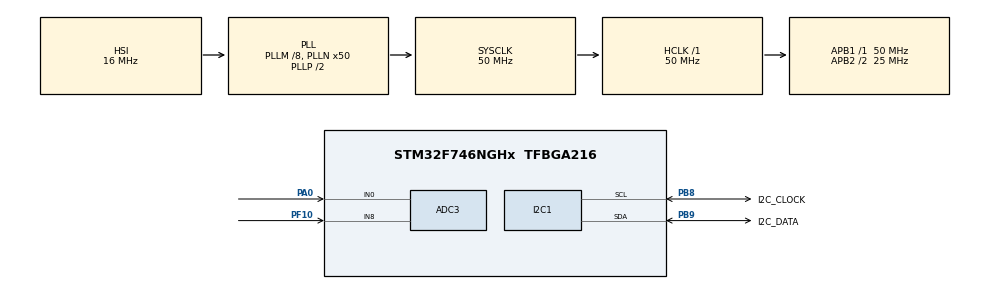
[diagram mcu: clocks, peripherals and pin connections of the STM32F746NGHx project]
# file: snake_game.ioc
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ADC3.Channel-0\#ChannelRegularConversion=ADC_CHANNEL_0
ADC3.Channel-1\#ChannelRegularConversion=ADC_CHANNEL_8
ADC3.DiscontinuousConvMode=ENABLE
ADC3.NbrOfConversion=2
ADC3.NbrOfConversionFlag=1
ADC3.Rank-0\#ChannelRegularConversion=1
ADC3.Rank-1\#ChannelRegularConversion=2
ADC3.SamplingTime-0\#ChannelRegularConversion=ADC_SAMPLETIME_84CYCLES
ADC3.SamplingTime-1\#ChannelRegularConversion=ADC_SAMPLETIME_84CYCLES
FREERTOS.Mutexes01=linkedListHandleMutex,Dynamic,NULL
FREERTOS.Tasks01=defaultTask,0,128,StartDefaultTask,Default,NULL,Dynamic,NULL,NULL;JoystickInputHa,0,128,StartJoystickInputHandlerTask,Default,NULL,Dynamic,NULL,NULL;snakeMoveTask,0,128,StartSnakeMoveTask,Default,NULL,Dynamic,NULL,NULL;displayTask,0,128,StartDisplayTask,Default,NULL,Dynamic,NULL,NULL;foodScoreTask,0,128,StartFoodScoreTask,Default,NULL,Dynamic,NULL,NULL
I2C1.Timing=0x00C0EAFF
Mcu.Family=STM32F7
Mcu.Name=STM32F746NGHx
Mcu.Package=TFBGA216
NVIC.PriorityGroup=NVIC_PRIORITYGROUP_4
NVIC.TIM8_TRG_COM_TIM14_IRQn=true\:0\:0\:false\:false\:true\:false\:false\:true
NVIC.TimeBase=TIM8_TRG_COM_TIM14_IRQn
NVIC.TimeBaseIP=TIM14
PA0/WKUP.Signal=ADCx_IN0
PA13.Mode=Serial_Wire
PA13.Signal=SYS_JTMS-SWDIO
PA14.Mode=Serial_Wire
PA14.Signal=SYS_JTCK-SWCLK
PB8.GPIO_Label=I2C_CLOCK
PB8.Mode=I2C
PB8.Signal=I2C1_SCL
PB9.GPIO_Label=I2C_DATA
PB9.Mode=I2C
PB9.Signal=I2C1_SDA
PC14/OSC32_IN.Mode=LSE-External-Clock-Source
PC14/OSC32_IN.Signal=RCC_OSC32_IN
PC15/OSC32_OUT.Mode=LSE-External-Clock-Source
PC15/OSC32_OUT.Signal=RCC_OSC32_OUT
PF10.Mode=IN8
PF10.Signal=ADC3_IN8
PH0/OSC_IN.Mode=HSE-External-Oscillator
PH0/OSC_IN.Signal=RCC_OSC_IN
PH1/OSC_OUT.Mode=HSE-External-Oscillator
PH1/OSC_OUT.Signal=RCC_OSC_OUT
ProjectManager.HeapSize=0x200
ProjectManager.StackSize=0x400
ProjectManager.TargetToolchain=STM32CubeIDE
RCC.AHBFreq_Value=50000000
RCC.APB1Freq_Value=50000000
RCC.APB1TimFreq_Value=50000000
RCC.APB2CLKDivider=RCC_HCLK_DIV2
RCC.APB2Freq_Value=25000000
RCC.APB2TimFreq_Value=50000000
RCC.CortexFreq_Value=50000000
RCC.HCLKFreq_Value=50000000
RCC.HSE_VALUE=25000000
RCC.HSI_VALUE=16000000
RCC.LSE_VALUE=32768
RCC.PLLM=8
RCC.PLLN=50
RCC.PLLQ=3
RCC.PLLSourceVirtual=RCC_PLLSOURCE_HSI
RCC.SYSCLKFreq_VALUE=50000000
RCC.SYSCLKSource=RCC_SYSCLKSOURCE_PLLCLK
RCC.USBFreq_Value=33333333.333333332
RCC.VCOOutputFreq_Value=100000000
SH.ADCx_IN0.0=ADC3_IN0,IN0
VP_FREERTOS_VS_CMSIS_V1.Mode=CMSIS_V1
VP_RNG_VS_RNG.Mode=RNG_Activate
VP_SYS_VS_tim14.Mode=TIM14
board=STM32F746G-DISCO

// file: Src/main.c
/* USER CODE BEGIN Header */
/**
 ******************************************************************************
 * @file           : main.c
 * @brief          : Main program body
 ******************************************************************************
 * @attention
 *
 * <h2><center>&copy; Copyright (c) 2019 STMicroelectronics.
 * All rights reserved.</center></h2>
 *
 * This software component is licensed by ST under BSD 3-Clause license,
 * the "License"; You may not use this file except in compliance with the
 * License. You may obtain a copy of the License at:
 *                        opensource.org/licenses/BSD-3-Clause
 *
 ******************************************************************************
 */
/* USER CODE END Header */

#include "main.h"
#include "cmsis_os.h"

/* USER CODE BEGIN Includes */

#include "linked_list.h"

/* USER CODE END Includes */

/* USER CODE BEGIN PTD */

typedef enum move_direction {
  UP, DOWN, LEFT, RIGHT, STOP, OVER,
} move_direction_t;

typedef struct food_coord {
  uint8_t x_food;
  uint8_t y_food;
} food_coord_t;

/* USER CODE END PTD */

/* USER CODE BEGIN PD */

#define I2C_ADDRESS_LEDMATRIX (0b11100000)

/* USER CODE END PD */

ADC_HandleTypeDef hadc3;

I2C_HandleTypeDef hi2c1;

RNG_HandleTypeDef hrng;

osThreadId defaultTaskHandle;
osThreadId JoystickInputHaHandle;
osThreadId snakeMoveTaskHandle;
osThreadId displayTaskHandle;
osThreadId foodScoreTaskHandle;
osMutexId linkedListHandleMutexHandle;
/* USER CODE BEGIN PV */

uint8_t screen_content[] = { 0x00, 0x00, 0x00, 0x00, 0x00, 0x00, 0x00, 0x00 };

uint8_t x_snake = 0;
uint8_t y_snake = 5;
//uint8_t x_food;
//uint8_t y_food;

int score = -5;
uint32_t game_speed = 500;
uint8_t food_eaten = 1;
uint32_t food_counter = 0;

const uint8_t visconti_snake[] = { 0x00, 0xa0, 0x48, 0xd4, 0xd5, 0xd2, 0x20,
    0x00 };

const uint8_t visconti_snake2[] = { 0xa0, 0x40, 0x48, 0xd4, 0xd5, 0xd2, 0x20,
    0x00 };

coord_t def_coord1 = { 0, 5 };
coord_t def_coord2 = { 0, 6 };
coord_t def_coord3 = { 0, 7 };
coord_t prev_tail;
food_coord_t coord_food;

HAL_StatusTypeDef Status;

move_direction_t direction = STOP;

node_t *head;
node_t **headptr = &head;

/* USER CODE END PV */

void SystemClock_Config(void);
static void MX_GPIO_Init(void);
static void MX_ADC3_Init(void);
static void MX_I2C1_Init(void);
static void MX_RNG_Init(void);
void StartDefaultTask(void const * argument);
void StartJoystickInputHandlerTask(void const * argument);
void StartSnakeMoveTask(void const * argument);
void StartDisplayTask(void const * argument);
void StartFoodScoreTask(void const * argument);

/* USER CODE BEGIN PFP */

void clear_led_matrix();
void set_led_matrix(const uint8_t* data);

/* USER CODE END PFP */

/* USER CODE BEGIN 0 */

void clear_led_matrix() {
  uint8_t buff[2];

  for (int i = 0; i < 16; i++) {
    buff[0] = i;
    buff[1] = 0x00;
    HAL_I2C_Master_Transmit(&hi2c1, I2C_ADDRESS_LEDMATRIX, buff, 2, 100);
  }
}

void set_led_matrix(const uint8_t* data) {
  clear_led_matrix();
  uint8_t buff[2];

  for (int i = 0; i < 8; i++) {
    buff[0] = i * 2;
    buff[1] = (data[i] >> 1) | (data[i] << 7);
    HAL_I2C_Master_Transmit(&hi2c1, I2C_ADDRESS_LEDMATRIX, buff, 2, 100);
  }
}

/* USER CODE END 0 */

int main(void) {

  /* MCU Configuration--------------------------------------------------------*/

  /* Reset of all peripherals, Initializes the Flash interface and the Systick. */
  HAL_Init();

  /* Configure the system clock */
  SystemClock_Config();

  /* Initialize all configured peripherals */
  MX_GPIO_Init();
  MX_ADC3_Init();
  MX_I2C1_Init();
  MX_RNG_Init();
  /* USER CODE BEGIN 2 */

  //init LED matrix
  uint8_t init1 = 0b00100001;
  uint8_t init2 = 0b10000001;

  HAL_I2C_Master_Transmit(&hi2c1, I2C_ADDRESS_LEDMATRIX, &init1, 1, 100);
  HAL_I2C_Master_Transmit(&hi2c1, I2C_ADDRESS_LEDMATRIX, &init2, 1, 100);

  init_list(headptr);

  /* USER CODE END 2 */

  /* Create the mutex(es) */
  /* definition and creation of linkedListHandleMutex */
  osMutexDef(linkedListHandleMutex);
  linkedListHandleMutexHandle = osMutexCreate(osMutex(linkedListHandleMutex));

  /* Create the thread(s) */
  /* definition and creation of defaultTask */
  osThreadDef(defaultTask, StartDefaultTask, osPriorityNormal, 0, 128);
  defaultTaskHandle = osThreadCreate(osThread(defaultTask), NULL);

  /* definition and creation of JoystickInputHa */
  osThreadDef(JoystickInputHa, StartJoystickInputHandlerTask, osPriorityNormal,
      0, 128);
  JoystickInputHaHandle = osThreadCreate(osThread(JoystickInputHa), NULL);

  /* definition and creation of snakeMoveTask */
  osThreadDef(snakeMoveTask, StartSnakeMoveTask, osPriorityNormal, 0, 128);
  snakeMoveTaskHandle = osThreadCreate(osThread(snakeMoveTask), NULL);

  /* definition and creation of displayTask */
  osThreadDef(displayTask, StartDisplayTask, osPriorityNormal, 0, 128);
  displayTaskHandle = osThreadCreate(osThread(displayTask), NULL);

  /* definition and creation of foodScoreTask */
  osThreadDef(foodScoreTask, StartFoodScoreTask, osPriorityNormal, 0, 128);
  foodScoreTaskHandle = osThreadCreate(osThread(foodScoreTask), NULL);

  /* Start scheduler */
  osKernelStart();

  /* We should never get here as control is now taken by the scheduler */

  /* Infinite loop */
  while (1) {

  }
}

void SystemClock_Config(void) {
  RCC_OscInitTypeDef RCC_OscInitStruct = { 0 };
  RCC_ClkInitTypeDef RCC_ClkInitStruct = { 0 };
  RCC_PeriphCLKInitTypeDef PeriphClkInitStruct = { 0 };

  /** Configure the main internal regulator output voltage
   */
  __HAL_RCC_PWR_CLK_ENABLE()
  ;
  __HAL_PWR_VOLTAGESCALING_CONFIG(PWR_REGULATOR_VOLTAGE_SCALE3);
  /** Initializes the CPU, AHB and APB busses clocks
   */
  RCC_OscInitStruct.OscillatorType = RCC_OSCILLATORTYPE_HSI;
  RCC_OscInitStruct.HSIState = RCC_HSI_ON;
  RCC_OscInitStruct.HSICalibrationValue = RCC_HSICALIBRATION_DEFAULT;
  RCC_OscInitStruct.PLL.PLLState = RCC_PLL_ON;
  RCC_OscInitStruct.PLL.PLLSource = RCC_PLLSOURCE_HSI;
  RCC_OscInitStruct.PLL.PLLM = 8;
  RCC_OscInitStruct.PLL.PLLN = 50;
  RCC_OscInitStruct.PLL.PLLP = RCC_PLLP_DIV2;
  RCC_OscInitStruct.PLL.PLLQ = 3;
  if (HAL_RCC_OscConfig(&RCC_OscInitStruct) != HAL_OK) {
    Error_Handler();
  }
  /** Activate the Over-Drive mode
   */
  if (HAL_PWREx_EnableOverDrive() != HAL_OK) {
    Error_Handler();
  }
  /** Initializes the CPU, AHB and APB busses clocks
   */
  RCC_ClkInitStruct.ClockType = RCC_CLOCKTYPE_HCLK | RCC_CLOCKTYPE_SYSCLK
      | RCC_CLOCKTYPE_PCLK1 | RCC_CLOCKTYPE_PCLK2;
  RCC_ClkInitStruct.SYSCLKSource = RCC_SYSCLKSOURCE_PLLCLK;
  RCC_ClkInitStruct.AHBCLKDivider = RCC_SYSCLK_DIV1;
  RCC_ClkInitStruct.APB1CLKDivider = RCC_HCLK_DIV1;
  RCC_ClkInitStruct.APB2CLKDivider = RCC_HCLK_DIV2;

  if (HAL_RCC_ClockConfig(&RCC_ClkInitStruct, FLASH_LATENCY_1) != HAL_OK) {
    Error_Handler();
  }
  PeriphClkInitStruct.PeriphClockSelection = RCC_PERIPHCLK_I2C1
      | RCC_PERIPHCLK_CLK48;
  PeriphClkInitStruct.I2c1ClockSelection = RCC_I2C1CLKSOURCE_PCLK1;
  PeriphClkInitStruct.Clk48ClockSelection = RCC_CLK48SOURCE_PLL;
  if (HAL_RCCEx_PeriphCLKConfig(&PeriphClkInitStruct) != HAL_OK) {
    Error_Handler();
  }
}

static void MX_ADC3_Init(void) {

  ADC_ChannelConfTypeDef sConfig = { 0 };

  /** Configure the global features of the ADC (Clock, Resolution, Data Alignment and number of conversion)
   */
  hadc3.Instance = ADC3;
  hadc3.Init.ClockPrescaler = ADC_CLOCK_SYNC_PCLK_DIV2;
  hadc3.Init.Resolution = ADC_RESOLUTION_12B;
  hadc3.Init.ScanConvMode = ADC_SCAN_ENABLE;
  hadc3.Init.ContinuousConvMode = DISABLE;
  hadc3.Init.DiscontinuousConvMode = ENABLE;
  hadc3.Init.NbrOfDiscConversion = 1;
  hadc3.Init.ExternalTrigConvEdge = ADC_EXTERNALTRIGCONVEDGE_NONE;
  hadc3.Init.ExternalTrigConv = ADC_SOFTWARE_START;
  hadc3.Init.DataAlign = ADC_DATAALIGN_RIGHT;
  hadc3.Init.NbrOfConversion = 2;
  hadc3.Init.DMAContinuousRequests = DISABLE;
  hadc3.Init.EOCSelection = ADC_EOC_SINGLE_CONV;
  if (HAL_ADC_Init(&hadc3) != HAL_OK) {
    Error_Handler();
  }
  /** Configure for the selected ADC regular channel its corresponding rank in the sequencer and its sample time.
   */
  sConfig.Channel = ADC_CHANNEL_0;
  sConfig.Rank = ADC_REGULAR_RANK_1;
  sConfig.SamplingTime = ADC_SAMPLETIME_84CYCLES;
  if (HAL_ADC_ConfigChannel(&hadc3, &sConfig) != HAL_OK) {
    Error_Handler();
  }
  /** Configure for the selected ADC regular channel its corresponding rank in the sequencer and its sample time.
   */
  sConfig.Channel = ADC_CHANNEL_8;
  sConfig.Rank = ADC_REGULAR_RANK_2;
  if (HAL_ADC_ConfigChannel(&hadc3, &sConfig) != HAL_OK) {
    Error_Handler();
  }

}

static void MX_I2C1_Init(void) {

  hi2c1.Instance = I2C1;
  hi2c1.Init.Timing = 0x00C0EAFF;
  hi2c1.Init.OwnAddress1 = 0;
  hi2c1.Init.AddressingMode = I2C_ADDRESSINGMODE_7BIT;
  hi2c1.Init.DualAddressMode = I2C_DUALADDRESS_DISABLE;
  hi2c1.Init.OwnAddress2 = 0;
  hi2c1.Init.OwnAddress2Masks = I2C_OA2_NOMASK;
  hi2c1.Init.GeneralCallMode = I2C_GENERALCALL_DISABLE;
  hi2c1.Init.NoStretchMode = I2C_NOSTRETCH_DISABLE;
  if (HAL_I2C_Init(&hi2c1) != HAL_OK) {
    Error_Handler();
  }
  /** Configure Analogue filter
   */
  if (HAL_I2CEx_ConfigAnalogFilter(&hi2c1, I2C_ANALOGFILTER_ENABLE) != HAL_OK) {
    Error_Handler();
  }
  /** Configure Digital filter
   */
  if (HAL_I2CEx_ConfigDigitalFilter(&hi2c1, 0) != HAL_OK) {
    Error_Handler();
  }

}

static void MX_RNG_Init(void) {

  hrng.Instance = RNG;
  if (HAL_RNG_Init(&hrng) != HAL_OK) {
    Error_Handler();
  }

}

static void MX_GPIO_Init(void) {

  /* GPIO Ports Clock Enable */
  __HAL_RCC_GPIOB_CLK_ENABLE()
  ;
  __HAL_RCC_GPIOA_CLK_ENABLE()
  ;
  __HAL_RCC_GPIOC_CLK_ENABLE()
  ;
  __HAL_RCC_GPIOH_CLK_ENABLE()
  ;
  __HAL_RCC_GPIOF_CLK_ENABLE()
  ;

}

void StartDefaultTask(void const * argument) {

  /* USER CODE BEGIN 5 */
  push_back(headptr, def_coord1);
  push_back(headptr, def_coord2);
  push_back(headptr, def_coord3);

  /* Infinite loop */
  for (;;) {
    osDelay(1);
  }
  /* USER CODE END 5 */
}

void StartJoystickInputHandlerTask(void const * argument) {
  /* USER CODE BEGIN StartJoystickInputHandlerTask */

  int xJ = 0;
  int yJ = 0;

  /* Infinite loop */
  for (;;) {
    HAL_ADC_Start(&hadc3);

    // osDelay(1);

    if (HAL_ADC_PollForConversion(&hadc3, 100) == HAL_OK) {

      xJ = HAL_ADC_GetValue(&hadc3);
    }

    HAL_ADC_Start(&hadc3);

    //   osDelay(1);

    Status = HAL_ADC_PollForConversion(&hadc3, 100);

    if (Status == HAL_OK) {

      yJ = HAL_ADC_GetValue(&hadc3);
    }
    if (xJ < 1000) {
      direction = LEFT;
//osDelay(150);
    }

    if (xJ > 3000) {
      direction = RIGHT;
      //osDelay(150);
    }

    if (yJ < 1000) {
      direction = UP;
      //osDelay(150);
    }

    if (yJ > 3000) {
      direction = DOWN;
      // osDelay(150);
    }

    osDelay(game_speed / 3);

  }
  /* USER CODE END StartJoystickInputHandlerTask */
}

void StartSnakeMoveTask(void const * argument) {
  /* USER CODE BEGIN StartSnakeMoveTask */
  /* Infinite loop */
  for (;;) {

    switch (direction) {
    case UP:
      y_snake = y_snake + 1;
      if (y_snake == 8) {
        direction = OVER;
      }
      break;

    case DOWN:
      y_snake = y_snake - 1;
      if (y_snake == 255) {
        direction = OVER;
      }
      break;

    case LEFT:
      x_snake = x_snake - 1;
      if (x_snake == 255) {
        direction = OVER;
      }
      break;

    case RIGHT:
      x_snake = x_snake + 1;

      if (x_snake == 8) {
        direction = OVER;
      }
      break;

    default:
      break;
    }

    coord_t new_head = { x_snake, y_snake };

    if (new_head.snake_x == coord_food.x_food
        && new_head.snake_y == coord_food.y_food) {

      osMutexWait(linkedListHandleMutexHandle, osWaitForever);

      push_front(headptr, new_head);

      osMutexRelease(linkedListHandleMutexHandle);

      food_eaten = 1;

    } else {

      osMutexWait(linkedListHandleMutexHandle, osWaitForever);

      prev_tail = pop_back(head);
      push_front(headptr, new_head);

      osMutexRelease(linkedListHandleMutexHandle);
    }

    osDelay(game_speed);

  }

  /* USER CODE END StartSnakeMoveTask */
}

void StartDisplayTask(void const * argument) {
  /* USER CODE BEGIN StartDisplayTask */
  /* Infinite loop */
  for (;;) {
    if (direction == UP || direction == DOWN || direction == LEFT
        || direction == RIGHT) {
      for (int i = 0; i < 8; i++) {
        screen_content[i] = 0x00;
      }

      node_t* p = head;

      osMutexWait(linkedListHandleMutexHandle, osWaitForever);
      int lenght = size(head);

      for (int i = 0; i < lenght; i++) {

        screen_content[p->data.snake_x] |= (0b1 << p->data.snake_y);

        p = p->next;
      }
      osMutexRelease(linkedListHandleMutexHandle);

      if (HAL_GetTick() % (game_speed / 3) < (game_speed / 6)) {
        screen_content[coord_food.x_food] |= (0b1 << coord_food.y_food);
      }

      set_led_matrix(screen_content);

      osDelay(game_speed / 10);
    }

    if (direction == OVER) {
      for (int i = 0; i < 3; i++) {

        set_led_matrix(visconti_snake);
        osDelay(400);

        set_led_matrix(visconti_snake2);
        osDelay(400);
      }

      clear_led_matrix();
      x_snake = 0;
      y_snake = 5;

      score = -5;
      game_speed = 500;
      food_eaten = 1;
      food_counter = 0;

      deallocate (headptr);

      push_back(headptr, def_coord1);
      push_back(headptr, def_coord2);
      push_back(headptr, def_coord3);

      direction = STOP;

    }
  }

  /* USER CODE END StartDisplayTask */
}

void StartFoodScoreTask(void const * argument) {
  /* USER CODE BEGIN StartFoodScoreTask */

  /* Infinite loop */
  for (;;) {
    if (food_eaten) {
      coord_t temp;
      int is_in_snake = 1;

      do {
        coord_food.x_food = (HAL_RNG_GetRandomNumber(&hrng)) % 7;
        osDelay(1);
        coord_food.y_food = (HAL_RNG_GetRandomNumber(&hrng)) % 7;
        osDelay(1);

        temp.snake_x = coord_food.x_food;
        temp.snake_y = coord_food.y_food;

        osMutexWait(linkedListHandleMutexHandle, osWaitForever);
        is_in_snake = search(head, temp);
        osMutexRelease(linkedListHandleMutexHandle);

      } while (is_in_snake);

      score += 2500 / game_speed;

      food_eaten = 0;

      food_counter++;

      game_speed = 500 - 50 * (food_counter / 5);
    }

  }
  /* USER CODE END StartFoodScoreTask */
}

void HAL_TIM_PeriodElapsedCallback(TIM_HandleTypeDef *htim) {
  if (htim->Instance == TIM14) {
    HAL_IncTick();
  }
}

void Error_Handler(void) {
}

/************************ (C) COPYRIGHT STMicroelectronics *****END OF FILE****/
